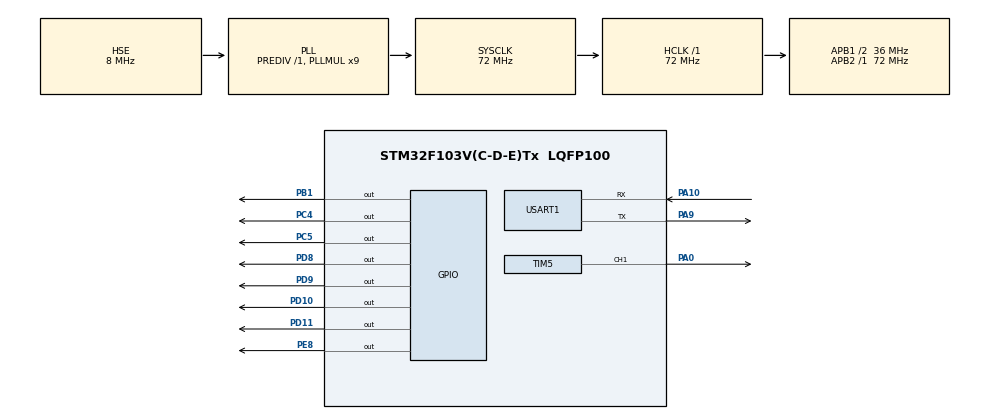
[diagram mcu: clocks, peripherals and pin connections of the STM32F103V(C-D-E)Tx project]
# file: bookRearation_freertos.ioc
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FREERTOS.Tasks01=startTask,0,128,StartDefault,Default,NULL,Dynamic,NULL,NULL;beepTask,-3,128,beepTaskStart,Default,NULL,Dynamic,NULL,NULL
Mcu.Family=STM32F1
Mcu.Name=STM32F103V(C-D-E)Tx
Mcu.Package=LQFP100
NVIC.PriorityGroup=NVIC_PRIORITYGROUP_4
NVIC.TIM4_IRQn=true\:0\:0\:false\:false\:true\:false\:false\:true
NVIC.TimeBase=TIM4_IRQn
NVIC.TimeBaseIP=TIM4
NVIC.USART1_IRQn=true\:5\:0\:false\:false\:true\:true\:true\:true
OSC_IN.Mode=HSE-External-Oscillator
OSC_IN.Signal=RCC_OSC_IN
OSC_OUT.Mode=HSE-External-Oscillator
OSC_OUT.Signal=RCC_OSC_OUT
PA0-WKUP.Signal=S_TIM5_CH1
PA10.Mode=Asynchronous
PA10.Signal=USART1_RX
PA13.Mode=Serial_Wire
PA13.Signal=SYS_JTMS-SWDIO
PA14.Mode=Serial_Wire
PA14.Signal=SYS_JTCK-SWCLK
PA9.Mode=Asynchronous
PA9.Signal=USART1_TX
PB1.GPIO_Speed=GPIO_SPEED_FREQ_HIGH
PB1.PinState=GPIO_PIN_SET
PB1.Signal=GPIO_Output
PC14-OSC32_IN.Mode=LSE-External-Oscillator
PC14-OSC32_IN.Signal=RCC_OSC32_IN
PC15-OSC32_OUT.Mode=LSE-External-Oscillator
PC15-OSC32_OUT.Signal=RCC_OSC32_OUT
PC4.GPIO_Speed=GPIO_SPEED_FREQ_HIGH
PC4.PinState=GPIO_PIN_SET
PC4.Signal=GPIO_Output
PC5.GPIO_ModeDefaultOutputPP=GPIO_MODE_OUTPUT_PP
PC5.GPIO_Speed=GPIO_SPEED_FREQ_HIGH
PC5.PinState=GPIO_PIN_SET
PC5.Signal=GPIO_Output
PD10.GPIO_Speed=GPIO_SPEED_FREQ_HIGH
PD10.PinState=GPIO_PIN_SET
PD10.Signal=GPIO_Output
PD11.GPIO_Speed=GPIO_SPEED_FREQ_HIGH
PD11.PinState=GPIO_PIN_SET
PD11.Signal=GPIO_Output
PD8.GPIO_Speed=GPIO_SPEED_FREQ_HIGH
PD8.PinState=GPIO_PIN_SET
PD8.Signal=GPIO_Output
PD9.GPIO_Speed=GPIO_SPEED_FREQ_HIGH
PD9.PinState=GPIO_PIN_SET
PD9.Signal=GPIO_Output
PE8.GPIO_Speed=GPIO_SPEED_FREQ_HIGH
PE8.PinState=GPIO_PIN_SET
PE8.Signal=GPIO_Output
ProjectManager.HeapSize=0x200
ProjectManager.StackSize=0x400
ProjectManager.TargetToolchain=MDK-ARM V5.27
RCC.AHBFreq_Value=72000000
RCC.APB1CLKDivider=RCC_HCLK_DIV2
RCC.APB1Freq_Value=36000000
RCC.APB1TimFreq_Value=72000000
RCC.APB2Freq_Value=72000000
RCC.APB2TimFreq_Value=72000000
RCC.HCLKFreq_Value=72000000
RCC.PLLMUL=RCC_PLL_MUL9
RCC.PLLSourceVirtual=RCC_PLLSOURCE_HSE
RCC.SYSCLKFreq_VALUE=72000000
RCC.SYSCLKSource=RCC_SYSCLKSOURCE_PLLCLK
RCC.USBFreq_Value=72000000
SH.S_TIM5_CH1.0=TIM5_CH1,PWM Generation1 CH1
TIM5.AutoReloadPreload=TIM_AUTORELOAD_PRELOAD_ENABLE
TIM5.Channel-PWM\ Generation1\ CH1=TIM_CHANNEL_1
TIM5.OCMode_PWM-PWM\ Generation1\ CH1=TIM_OCMODE_PWM1
TIM5.Period=10000
TIM5.Prescaler=72
TIM5.Pulse-PWM\ Generation1\ CH1=5000
TIM5.TIM_MasterSlaveMode=TIM_MASTERSLAVEMODE_DISABLE
USART1.VirtualMode=VM_ASYNC
VP_FREERTOS_VS_CMSIS_V1.Mode=CMSIS_V1
VP_SYS_VS_tim4.Mode=TIM4
VP_TIM5_VS_ClockSourceINT.Mode=Internal
board=custom

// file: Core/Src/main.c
/* USER CODE BEGIN Header */
/**
  ******************************************************************************
  * @file           : main.c
  * @brief          : Main program body
  ******************************************************************************
  * @attention
  *
  * <h2><center>&copy; Copyright (c) 2021 STMicroelectronics.
  * All rights reserved.</center></h2>
  *
  * This software component is licensed by ST under Ultimate Liberty license
  * SLA0044, the "License"; You may not use this file except in compliance with
  * the License. You may obtain a copy of the License at:
  *                             www.st.com/SLA0044
  *
  ******************************************************************************
  */
/* USER CODE END Header */
#include "main.h"
#include "cmsis_os.h"

/* USER CODE BEGIN Includes */
#include "bsp_steper.h"
#include "api_getstep.h"
#include "delay.h"
#include "stdlib.h"
#include "stdio.h"
#include <string.h>
/* USER CODE END Includes */

TIM_HandleTypeDef htim5;

UART_HandleTypeDef huart1;

osThreadId startTaskHandle;
osThreadId beepTaskHandle;
/* USER CODE BEGIN PV */
extern Stepper_TypeDef steper[2];
StepDistance_Def stepDis[150];
uint8_t recieveData[20];
uint8_t aRxBuffer[1];
uint8_t moveFlag = 0;
uint8_t endIndex  = 0;
/* USER CODE END PV */

void SystemClock_Config(void);
static void MX_GPIO_Init(void);
static void MX_USART1_UART_Init(void);
static void MX_TIM5_Init(void);
void StartDefault(void const * argument);
void beepTaskStart(void const * argument);

/* USER CODE BEGIN 0 */
int fputc(int ch,FILE *f)
{
    uint8_t temp[1]={ch};
    HAL_UART_Transmit(&huart1,temp,1,2);
		return 1;
}

//void readDistance()
//{
//	static int i =0;
//	double disx = 0, disy = 0;
//	char* ptr;
//
////	strncpy(str_cmd, (char*)recieveData, 5);
//	if(recieveData[0] == 'd' && recieveData[1] == 'a'){
//		disx = strtod((char *)recieveData+5, &ptr);
//		disy = strtod((char *)ptr, &ptr);
//		memset(recieveData, 0, sizeof(recieveData));
//		// printf("dis1=[%.3f],dis2=[%.3f]\r\n", disx, disy);
//		stepDis[i].x_dis = disx;
//		stepDis[i].y_dis = disy;
//
//		++i;
//	}else if(recieveData[0] == 'e' && recieveData[1] == 'n'){
//		printf("data recieve end!!!\r\n");
//		endIndex = i;
//		i = 0;
//		moveFlag = 1;
//		memset(recieveData, 0, sizeof(recieveData));
//	}
//}
/* USER CODE END 0 */

int main(void)
{

  /* MCU Configuration--------------------------------------------------------*/

  /* Reset of all peripherals, Initializes the Flash interface and the Systick. */
  HAL_Init();

  /* Configure the system clock */
  SystemClock_Config();

  /* Initialize all configured peripherals */
  MX_GPIO_Init();
  MX_USART1_UART_Init();
  MX_TIM5_Init();
  /* USER CODE BEGIN 2 */
  delay_init(72);
	HAL_UART_Receive_IT(&huart1, aRxBuffer, 1);   //再开启接收中断
  /* USER CODE END 2 */

  /* Create the thread(s) */
  /* definition and creation of startTask */
  osThreadDef(startTask, StartDefault, osPriorityNormal, 0, 128);
  startTaskHandle = osThreadCreate(osThread(startTask), NULL);

  /* definition and creation of beepTask */
  osThreadDef(beepTask, beepTaskStart, osPriorityNormal, 0, 128);
  beepTaskHandle = osThreadCreate(osThread(beepTask), NULL);

  /* Start scheduler */
  osKernelStart();

  /* We should never get here as control is now taken by the scheduler */
  /* Infinite loop */
	while (1)
	{

	}
}

void SystemClock_Config(void)
{
  RCC_OscInitTypeDef RCC_OscInitStruct = {0};
  RCC_ClkInitTypeDef RCC_ClkInitStruct = {0};

  /** Initializes the RCC Oscillators according to the specified parameters
  * in the RCC_OscInitTypeDef structure.
  */
  RCC_OscInitStruct.OscillatorType = RCC_OSCILLATORTYPE_HSE;
  RCC_OscInitStruct.HSEState = RCC_HSE_ON;
  RCC_OscInitStruct.HSEPredivValue = RCC_HSE_PREDIV_DIV1;
  RCC_OscInitStruct.HSIState = RCC_HSI_ON;
  RCC_OscInitStruct.PLL.PLLState = RCC_PLL_ON;
  RCC_OscInitStruct.PLL.PLLSource = RCC_PLLSOURCE_HSE;
  RCC_OscInitStruct.PLL.PLLMUL = RCC_PLL_MUL9;
  if (HAL_RCC_OscConfig(&RCC_OscInitStruct) != HAL_OK)
  {
    Error_Handler();
  }
  /** Initializes the CPU, AHB and APB buses clocks
  */
  RCC_ClkInitStruct.ClockType = RCC_CLOCKTYPE_HCLK|RCC_CLOCKTYPE_SYSCLK
                              |RCC_CLOCKTYPE_PCLK1|RCC_CLOCKTYPE_PCLK2;
  RCC_ClkInitStruct.SYSCLKSource = RCC_SYSCLKSOURCE_PLLCLK;
  RCC_ClkInitStruct.AHBCLKDivider = RCC_SYSCLK_DIV1;
  RCC_ClkInitStruct.APB1CLKDivider = RCC_HCLK_DIV2;
  RCC_ClkInitStruct.APB2CLKDivider = RCC_HCLK_DIV1;

  if (HAL_RCC_ClockConfig(&RCC_ClkInitStruct, FLASH_LATENCY_2) != HAL_OK)
  {
    Error_Handler();
  }
}

static void MX_TIM5_Init(void)
{

  TIM_ClockConfigTypeDef sClockSourceConfig = {0};
  TIM_MasterConfigTypeDef sMasterConfig = {0};
  TIM_OC_InitTypeDef sConfigOC = {0};

  htim5.Instance = TIM5;
  htim5.Init.Prescaler = 72;
  htim5.Init.CounterMode = TIM_COUNTERMODE_UP;
  htim5.Init.Period = 10000;
  htim5.Init.ClockDivision = TIM_CLOCKDIVISION_DIV1;
  htim5.Init.AutoReloadPreload = TIM_AUTORELOAD_PRELOAD_ENABLE;
  if (HAL_TIM_Base_Init(&htim5) != HAL_OK)
  {
    Error_Handler();
  }
  sClockSourceConfig.ClockSource = TIM_CLOCKSOURCE_INTERNAL;
  if (HAL_TIM_ConfigClockSource(&htim5, &sClockSourceConfig) != HAL_OK)
  {
    Error_Handler();
  }
  if (HAL_TIM_PWM_Init(&htim5) != HAL_OK)
  {
    Error_Handler();
  }
  sMasterConfig.MasterOutputTrigger = TIM_TRGO_RESET;
  sMasterConfig.MasterSlaveMode = TIM_MASTERSLAVEMODE_DISABLE;
  if (HAL_TIMEx_MasterConfigSynchronization(&htim5, &sMasterConfig) != HAL_OK)
  {
    Error_Handler();
  }
  sConfigOC.OCMode = TIM_OCMODE_PWM1;
  sConfigOC.Pulse = 5000;
  sConfigOC.OCPolarity = TIM_OCPOLARITY_HIGH;
  sConfigOC.OCFastMode = TIM_OCFAST_DISABLE;
  if (HAL_TIM_PWM_ConfigChannel(&htim5, &sConfigOC, TIM_CHANNEL_1) != HAL_OK)
  {
    Error_Handler();
  }
  HAL_TIM_MspPostInit(&htim5);

}

static void MX_USART1_UART_Init(void)
{

  huart1.Instance = USART1;
  huart1.Init.BaudRate = 115200;
  huart1.Init.WordLength = UART_WORDLENGTH_8B;
  huart1.Init.StopBits = UART_STOPBITS_1;
  huart1.Init.Parity = UART_PARITY_NONE;
  huart1.Init.Mode = UART_MODE_TX_RX;
  huart1.Init.HwFlowCtl = UART_HWCONTROL_NONE;
  huart1.Init.OverSampling = UART_OVERSAMPLING_16;
  if (HAL_UART_Init(&huart1) != HAL_OK)
  {
    Error_Handler();
  }

}

static void MX_GPIO_Init(void)
{
  GPIO_InitTypeDef GPIO_InitStruct = {0};

  /* GPIO Ports Clock Enable */
  __HAL_RCC_GPIOC_CLK_ENABLE();
  __HAL_RCC_GPIOA_CLK_ENABLE();
  __HAL_RCC_GPIOB_CLK_ENABLE();
  __HAL_RCC_GPIOE_CLK_ENABLE();
  __HAL_RCC_GPIOD_CLK_ENABLE();

  /*Configure GPIO pin Output Level */
  HAL_GPIO_WritePin(GPIOC, GPIO_PIN_4|GPIO_PIN_5, GPIO_PIN_SET);

  /*Configure GPIO pin Output Level */
  HAL_GPIO_WritePin(GPIOB, GPIO_PIN_1, GPIO_PIN_SET);

  /*Configure GPIO pin Output Level */
  HAL_GPIO_WritePin(GPIOE, GPIO_PIN_8, GPIO_PIN_SET);

  /*Configure GPIO pin Output Level */
  HAL_GPIO_WritePin(GPIOD, GPIO_PIN_8|GPIO_PIN_9|GPIO_PIN_10|GPIO_PIN_11, GPIO_PIN_SET);

  /*Configure GPIO pins : PC4 PC5 */
  GPIO_InitStruct.Pin = GPIO_PIN_4|GPIO_PIN_5;
  GPIO_InitStruct.Mode = GPIO_MODE_OUTPUT_PP;
  GPIO_InitStruct.Pull = GPIO_NOPULL;
  GPIO_InitStruct.Speed = GPIO_SPEED_FREQ_HIGH;
  HAL_GPIO_Init(GPIOC, &GPIO_InitStruct);

  /*Configure GPIO pin : PB1 */
  GPIO_InitStruct.Pin = GPIO_PIN_1;
  GPIO_InitStruct.Mode = GPIO_MODE_OUTPUT_PP;
  GPIO_InitStruct.Pull = GPIO_NOPULL;
  GPIO_InitStruct.Speed = GPIO_SPEED_FREQ_HIGH;
  HAL_GPIO_Init(GPIOB, &GPIO_InitStruct);

  /*Configure GPIO pin : PE8 */
  GPIO_InitStruct.Pin = GPIO_PIN_8;
  GPIO_InitStruct.Mode = GPIO_MODE_OUTPUT_PP;
  GPIO_InitStruct.Pull = GPIO_NOPULL;
  GPIO_InitStruct.Speed = GPIO_SPEED_FREQ_HIGH;
  HAL_GPIO_Init(GPIOE, &GPIO_InitStruct);

  /*Configure GPIO pins : PD8 PD9 PD10 PD11 */
  GPIO_InitStruct.Pin = GPIO_PIN_8|GPIO_PIN_9|GPIO_PIN_10|GPIO_PIN_11;
  GPIO_InitStruct.Mode = GPIO_MODE_OUTPUT_PP;
  GPIO_InitStruct.Pull = GPIO_NOPULL;
  GPIO_InitStruct.Speed = GPIO_SPEED_FREQ_HIGH;
  HAL_GPIO_Init(GPIOD, &GPIO_InitStruct);

}

void StartDefault(void const * argument)
{
  /* USER CODE BEGIN 5 */
	HAL_GPIO_WritePin(GPIOD, GPIO_PIN_11, GPIO_PIN_SET);
	delay_ms(200);
	HAL_GPIO_WritePin(GPIOD, GPIO_PIN_11, GPIO_PIN_RESET);
	delay_ms(200);
  /* Infinite loop */
  for(;;)
  {
		int  i = 1;

		HAL_GPIO_WritePin(GPIOD, GPIO_PIN_9, GPIO_PIN_RESET);
		osDelay(100);
		HAL_GPIO_WritePin(GPIOD, GPIO_PIN_9, GPIO_PIN_SET);
		osDelay(100);
		i = 1;
  }
  /* USER CODE END 5 */
}

void beepTaskStart(void const * argument)
{
  /* USER CODE BEGIN beepTaskStart */
  /* Infinite loop */
  for(;;)
  {
		// readDistance();
		if(moveFlag == 1){
			for(int i = 1; i < endIndex - 1; ++i){
				steper_coordinate(stepDis[i].x_dis - stepDis[i-1].x_dis,stepDis[i].y_dis - stepDis[i-1].y_dis);
			}
			moveFlag = 0;
		}
		HAL_GPIO_WritePin(GPIOD, GPIO_PIN_10, GPIO_PIN_RESET);
		osDelay(100);
		HAL_GPIO_WritePin(GPIOD, GPIO_PIN_10, GPIO_PIN_SET);
		osDelay(100);
  }
  /* USER CODE END beepTaskStart */
}

 /**
  * @brief  Period elapsed callback in non blocking mode
  * @note   This function is called  when TIM4 interrupt took place, inside
  * HAL_TIM_IRQHandler(). It makes a direct call to HAL_IncTick() to increment
  * a global variable "uwTick" used as application time base.
  * @param  htim : TIM handle
  * @retval None
  */
void HAL_TIM_PeriodElapsedCallback(TIM_HandleTypeDef *htim)
{
  if (htim->Instance == TIM4) {
    HAL_IncTick();
  }
}

void Error_Handler(void)
{
  __disable_irq();
  while (1)
  {
  }
}

/************************ (C) COPYRIGHT STMicroelectronics *****END OF FILE****/
